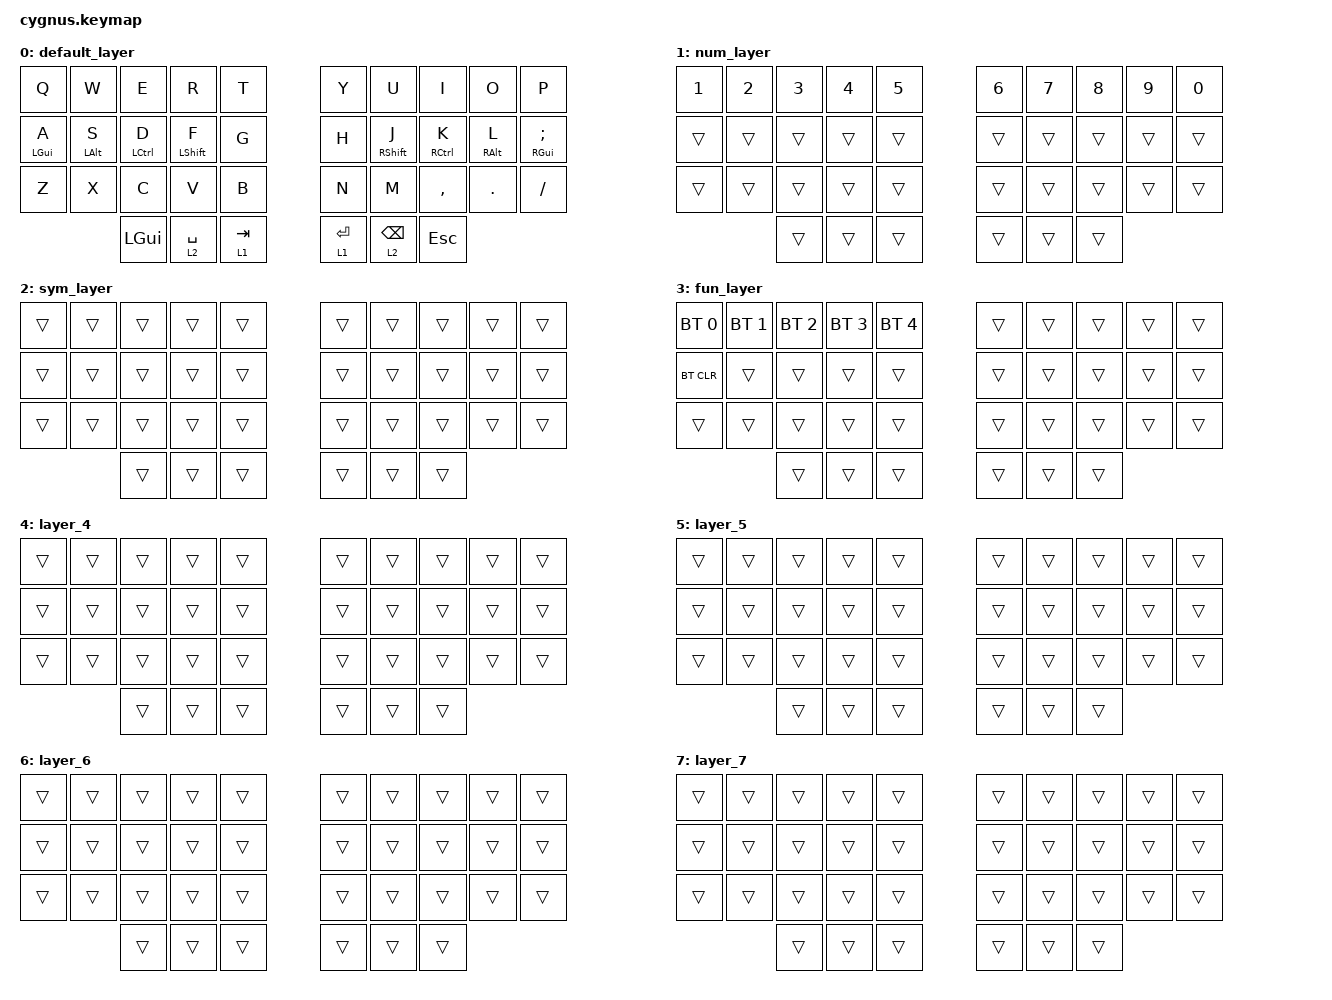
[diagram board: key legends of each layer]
/*
 * Copyright (c) 2020 The ZMK Contributors
 *
 * SPDX-License-Identifier: MIT
 */

#include <behaviors.dtsi>
#include <dt-bindings/zmk/bt.h>
#include <dt-bindings/zmk/keys.h>

&mt {
    tapping-term-ms = <200>;
    flavor = "tap-preferred";
};

&sk {
    release-after-ms = <2000>;
    quick-release;
};

/ {
    combos {
        compatible = "zmk,combos";

        left_bkt {
            bindings = <&kp LBKT>;
            key-positions = <3 2>;
            timeout-ms = <50>;
        };

        right_bkt {
            bindings = <&kp RBKT>;
            key-positions = <6 7>;
            timeout-ms = <50>;
        };

        left_par {
            bindings = <&kp LEFT_PARENTHESIS>;
            key-positions = <12 13>;
            timeout-ms = <50>;
        };

        right_par {
            bindings = <&kp RIGHT_PARENTHESIS>;
            key-positions = <16 17>;
            timeout-ms = <50>;
        };

        left_brace {
            bindings = <&kp LEFT_BRACE>;
            key-positions = <23 22>;
            timeout-ms = <50>;
        };

        right_brace {
            bindings = <&kp RIGHT_BRACE>;
            key-positions = <26 27>;
            timeout-ms = <50>;
        };

        bac {
            bindings = <&kp BACKSLASH>;
            key-positions = <4 5>;
        };

        pipe {
            bindings = <&kp PIPE>;
            key-positions = <14 15>;
        };
    };

    behaviors {
        hm: homerow_mods {
            compatible = "zmk,behavior-hold-tap";
            label = "HOMEROW_MODS";
            #binding-cells = <2>;
            tapping-term-ms = <200>;
            quick_tap_ms = <0>;
            flavor = "tap-preferred";
            bindings = <&kp>, <&kp>;

            quick-tap-ms = <180>;
            global-quick-tap;
        };

        ltq: ltq {
            compatible = "zmk,behavior-hold-tap";
            label = "LTQ";
            #binding-cells = <2>;
            tapping-term-ms = <200>;
            quick_tap_ms = <0>;
            flavor = "hold-preferred";
            bindings = <&mo>, <&kp>;

            quick-tap-ms = <180>;
            global-quick-tap;
        };
    };

    keymap {
        compatible = "zmk,keymap";

        default_layer {
            bindings = <
&kp Q                         &kp W                         &kp E                    &kp R             &kp T         &kp Y                      &kp U              &kp I        &kp O            &kp P
&hm LEFT_GUI A                &hm LEFT_ALT S                &hm LCTRL D              &hm LEFT_SHIFT F  &kp G         &kp H                      &hm RIGHT_SHIFT J  &hm RCTRL K  &hm RIGHT_ALT L  &hm RIGHT_GUI SEMI
&kp Z                         &kp X                         &kp C                    &kp V             &kp B         &kp N                      &kp M              &kp COMMA    &kp PERIOD       &kp FSLH
                &kp LEFT_GUI                  &ltq 2 SPACE               &ltq 1 TAB                    &ltq 1 ENTER  &ltq 2 BACKSPACE  &kp ESC
            >;
        };

        num_layer {
            bindings = <
&kp N1          &kp N2          &kp N3          &kp N4  &kp N5  &kp N6          &kp N7  &kp N8  &kp N9  &kp N0
&trans          &trans          &trans          &trans  &trans  &trans          &trans  &trans  &trans  &trans
&trans          &trans          &trans          &trans  &trans  &trans          &trans  &trans  &trans  &trans
        &trans          &trans          &trans          &trans  &trans  &trans
            >;
        };

        sym_layer {
            bindings = <
&trans          &trans          &trans          &trans  &trans  &trans          &trans  &trans  &trans  &trans
&trans          &trans          &trans          &trans  &trans  &trans          &trans  &trans  &trans  &trans
&trans          &trans          &trans          &trans  &trans  &trans          &trans  &trans  &trans  &trans
        &trans          &trans          &trans          &trans  &trans  &trans
            >;
        };

        fun_layer {
            bindings = <
&bt BT_SEL 0          &bt BT_SEL 1          &bt BT_SEL 2          &bt BT_SEL 3  &bt BT_SEL 4  &trans          &trans  &trans  &trans  &trans
&bt BT_CLR            &trans                &trans                &trans        &trans        &trans          &trans  &trans  &trans  &trans
&trans                &trans                &trans                &trans        &trans        &trans          &trans  &trans  &trans  &trans
              &trans                &trans                &trans                &trans        &trans  &trans
            >;
        };

        layer_4 {
            bindings = <
&trans          &trans          &trans          &trans  &trans  &trans          &trans  &trans  &trans  &trans
&trans          &trans          &trans          &trans  &trans  &trans          &trans  &trans  &trans  &trans
&trans          &trans          &trans          &trans  &trans  &trans          &trans  &trans  &trans  &trans
        &trans          &trans          &trans          &trans  &trans  &trans
            >;
        };

        layer_5 {
            bindings = <
&trans          &trans          &trans          &trans  &trans  &trans          &trans  &trans  &trans  &trans
&trans          &trans          &trans          &trans  &trans  &trans          &trans  &trans  &trans  &trans
&trans          &trans          &trans          &trans  &trans  &trans          &trans  &trans  &trans  &trans
        &trans          &trans          &trans          &trans  &trans  &trans
            >;
        };

        layer_6 {
            bindings = <
&trans          &trans          &trans          &trans  &trans  &trans          &trans  &trans  &trans  &trans
&trans          &trans          &trans          &trans  &trans  &trans          &trans  &trans  &trans  &trans
&trans          &trans          &trans          &trans  &trans  &trans          &trans  &trans  &trans  &trans
        &trans          &trans          &trans          &trans  &trans  &trans
            >;
        };

        layer_7 {
            bindings = <
&trans          &trans          &trans          &trans  &trans  &trans          &trans  &trans  &trans  &trans
&trans          &trans          &trans          &trans  &trans  &trans          &trans  &trans  &trans  &trans
&trans          &trans          &trans          &trans  &trans  &trans          &trans  &trans  &trans  &trans
        &trans          &trans          &trans          &trans  &trans  &trans
            >;
        };
    };

    conditional_layers {
        compatible = "zmk,conditional-layers";

        layer12to3 {
            if-layers = <1 2>;
            then-layer = <3>;
        };
    };
};
